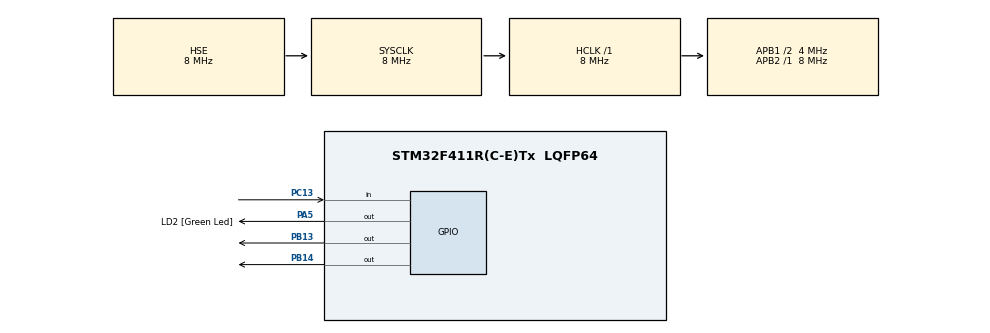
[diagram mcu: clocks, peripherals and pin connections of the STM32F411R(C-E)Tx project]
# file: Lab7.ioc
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FREERTOS.Tasks01=defaultTask,24,128,StartDefaultTask,Default,NULL,Dynamic,NULL,NULL
Mcu.Family=STM32F4
Mcu.Name=STM32F411R(C-E)Tx
Mcu.Package=LQFP64
NVIC.PriorityGroup=NVIC_PRIORITYGROUP_4
NVIC.TIM4_IRQn=true\:15\:0\:false\:false\:true\:false\:false\:true\:true
NVIC.TimeBase=TIM4_IRQn
NVIC.TimeBaseIP=TIM4
PA13.GPIO_Label=TMS
PA13.Signal=SYS_JTMS-SWDIO
PA2.GPIO_Label=USART_TX
PA2.Signal=USART2_TX
PA3.GPIO_Label=USART_RX
PA3.Signal=USART2_RX
PA5.GPIO_Label=LD2 [Green Led]
PA5.Signal=GPIO_Output
PB13.Signal=GPIO_Output
PB14.Signal=GPIO_Output
PC13-ANTI_TAMP.Signal=GPIO_Input
PH0\ -\ OSC_IN.Mode=HSE-External-Oscillator
PH0\ -\ OSC_IN.Signal=RCC_OSC_IN
PH1\ -\ OSC_OUT.Mode=HSE-External-Oscillator
PH1\ -\ OSC_OUT.Signal=RCC_OSC_OUT
ProjectManager.HeapSize=0x200
ProjectManager.StackSize=0x400
ProjectManager.TargetToolchain=STM32CubeIDE
RCC.48MHZClocksFreq_Value=84000000
RCC.AHBFreq_Value=8000000
RCC.APB1CLKDivider=RCC_HCLK_DIV2
RCC.APB1Freq_Value=4000000
RCC.APB1TimFreq_Value=8000000
RCC.APB2Freq_Value=8000000
RCC.APB2TimFreq_Value=8000000
RCC.CortexFreq_Value=8000000
RCC.FLatency-AdvancedSettings=FLASH_LATENCY_0
RCC.HCLKFreq_Value=8000000
RCC.HSE_VALUE=8000000
RCC.HSI_VALUE=16000000
RCC.LSE_VALUE=32768
RCC.PLLN=336
RCC.PLLP=RCC_PLLP_DIV4
RCC.SYSCLKFreq_VALUE=8000000
RCC.SYSCLKSource=RCC_SYSCLKSOURCE_HSE
RCC.VCOOutputFreq_Value=336000000
VP_FREERTOS_VS_CMSIS_V2.Mode=CMSIS_V2
VP_SYS_VS_tim4.Mode=TIM4
board=NUCLEO-F411RE

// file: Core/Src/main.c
/* USER CODE BEGIN Header */
/**
  ******************************************************************************
  * @file           : main.c
  * @brief          : Main program body
  ******************************************************************************
  * @attention
  *
  * Copyright (c) 2026 STMicroelectronics.
  * All rights reserved.
  *
  * This software is licensed under terms that can be found in the LICENSE file
  * in the root directory of this software component.
  * If no LICENSE file comes with this software, it is provided AS-IS.
  *
  ******************************************************************************
  */
/*
 * Варіант 7. Створити три потоки для керування світлодіодами PA5, PB13, PB14.
 * Частоти: PA5 — 1 Гц(тривалість 400 мс), PB13— 0.25 Гц (тривалість 1 с),
 * PB14— 0.1 Гц (тривалість 2 с).
 * Кнопка PC13 змінює тривалість імпульсу PA5 від 400 мс до 1 с.
 */
/* USER CODE END Header */
#include "main.h"
#include "cmsis_os.h"

/* USER CODE BEGIN Includes */
#include "FreeRTOS.h"
#include "task.h"
/* USER CODE END Includes */

/* Definitions for defaultTask */
osThreadId_t defaultTaskHandle;
const osThreadAttr_t defaultTask_attributes = {
  .name = "defaultTask",
  .stack_size = 128 * 4,
  .priority = (osPriority_t) osPriorityNormal,
};
/* USER CODE BEGIN PV */
volatile uint32_t duration_PA5 = 400;
/* USER CODE END PV */

void SystemClock_Config(void);
static void MX_GPIO_Init(void);
void StartDefaultTask(void *argument);

void LedTaskPA5(void *argument);
void LedTaskPB13(void *argument);
void LedTaskPB14(void *argument);
void ButtonTask(void *argument);

int main(void)
{

  /* MCU Configuration--------------------------------------------------------*/

  /* Reset of all peripherals, Initializes the Flash interface and the Systick. */
  HAL_Init();

  /* Configure the system clock */
  SystemClock_Config();

  /* Initialize all configured peripherals */
  MX_GPIO_Init();

  /* Init scheduler */
  osKernelInitialize();

  /* Create the thread(s) */
  /* creation of defaultTask */
  defaultTaskHandle = osThreadNew(StartDefaultTask, NULL, &defaultTask_attributes);

  /* USER CODE BEGIN RTOS_THREADS */
  /* add threads, ... */
  xTaskCreate(LedTaskPA5, "LED_PA5", 128, NULL, 1, NULL);
  xTaskCreate(LedTaskPB13, "LED_PB13", 128, NULL, 1, NULL);
  xTaskCreate(LedTaskPB14, "LED_PB14", 128, NULL, 1, NULL);
  // Button task usually gets a slightly higher priority to respond quickly
  xTaskCreate(ButtonTask, "BTN_PC13", 128, NULL, 2, NULL);

  /* USER CODE END RTOS_THREADS */

  /* Start scheduler */
  osKernelStart();

  /* We should never get here as control is now taken by the scheduler */

  /* Infinite loop */
  while (1)
  {

  }
}

void SystemClock_Config(void)
{
  RCC_OscInitTypeDef RCC_OscInitStruct = {0};
  RCC_ClkInitTypeDef RCC_ClkInitStruct = {0};

  /** Configure the main internal regulator output voltage
  */
  __HAL_RCC_PWR_CLK_ENABLE();
  __HAL_PWR_VOLTAGESCALING_CONFIG(PWR_REGULATOR_VOLTAGE_SCALE1);

  /** Initializes the RCC Oscillators according to the specified parameters
  * in the RCC_OscInitTypeDef structure.
  */
  RCC_OscInitStruct.OscillatorType = RCC_OSCILLATORTYPE_HSE;
  RCC_OscInitStruct.HSEState = RCC_HSE_ON;
  RCC_OscInitStruct.PLL.PLLState = RCC_PLL_NONE;
  if (HAL_RCC_OscConfig(&RCC_OscInitStruct) != HAL_OK)
  {
    Error_Handler();
  }

  /** Initializes the CPU, AHB and APB buses clocks
  */
  RCC_ClkInitStruct.ClockType = RCC_CLOCKTYPE_HCLK|RCC_CLOCKTYPE_SYSCLK
                              |RCC_CLOCKTYPE_PCLK1|RCC_CLOCKTYPE_PCLK2;
  RCC_ClkInitStruct.SYSCLKSource = RCC_SYSCLKSOURCE_HSE;
  RCC_ClkInitStruct.AHBCLKDivider = RCC_SYSCLK_DIV1;
  RCC_ClkInitStruct.APB1CLKDivider = RCC_HCLK_DIV2;
  RCC_ClkInitStruct.APB2CLKDivider = RCC_HCLK_DIV1;

  if (HAL_RCC_ClockConfig(&RCC_ClkInitStruct, FLASH_LATENCY_0) != HAL_OK)
  {
    Error_Handler();
  }
}

static void MX_GPIO_Init(void)
{
  GPIO_InitTypeDef GPIO_InitStruct = {0};

  /* GPIO Ports Clock Enable */
  __HAL_RCC_GPIOC_CLK_ENABLE();
  __HAL_RCC_GPIOH_CLK_ENABLE();
  __HAL_RCC_GPIOA_CLK_ENABLE();
  __HAL_RCC_GPIOB_CLK_ENABLE();

  /*Configure GPIO pin Output Level */
  HAL_GPIO_WritePin(LD2_GPIO_Port, LD2_Pin, GPIO_PIN_RESET);

  /*Configure GPIO pin Output Level */
  HAL_GPIO_WritePin(GPIOB, GPIO_PIN_13|GPIO_PIN_14, GPIO_PIN_RESET);

  /*Configure GPIO pin : PC13 */
  GPIO_InitStruct.Pin = GPIO_PIN_13;
  GPIO_InitStruct.Mode = GPIO_MODE_INPUT;
  GPIO_InitStruct.Pull = GPIO_NOPULL;
  HAL_GPIO_Init(GPIOC, &GPIO_InitStruct);

  /*Configure GPIO pins : USART_TX_Pin USART_RX_Pin */
  GPIO_InitStruct.Pin = USART_TX_Pin|USART_RX_Pin;
  GPIO_InitStruct.Mode = GPIO_MODE_AF_PP;
  GPIO_InitStruct.Pull = GPIO_NOPULL;
  GPIO_InitStruct.Speed = GPIO_SPEED_FREQ_VERY_HIGH;
  GPIO_InitStruct.Alternate = GPIO_AF7_USART2;
  HAL_GPIO_Init(GPIOA, &GPIO_InitStruct);

  /*Configure GPIO pin : LD2_Pin */
  GPIO_InitStruct.Pin = LD2_Pin;
  GPIO_InitStruct.Mode = GPIO_MODE_OUTPUT_PP;
  GPIO_InitStruct.Pull = GPIO_NOPULL;
  GPIO_InitStruct.Speed = GPIO_SPEED_FREQ_LOW;
  HAL_GPIO_Init(LD2_GPIO_Port, &GPIO_InitStruct);

  /*Configure GPIO pins : PB13 PB14 */
  GPIO_InitStruct.Pin = GPIO_PIN_13|GPIO_PIN_14;
  GPIO_InitStruct.Mode = GPIO_MODE_OUTPUT_PP;
  GPIO_InitStruct.Pull = GPIO_NOPULL;
  GPIO_InitStruct.Speed = GPIO_SPEED_FREQ_LOW;
  HAL_GPIO_Init(GPIOB, &GPIO_InitStruct);

}

/* USER CODE BEGIN 4 */

// Task 1: PA5 at 1 Hz
void LedTaskPA5(void *argument) {
  while(1) {
    HAL_GPIO_WritePin(GPIOA, GPIO_PIN_5, GPIO_PIN_SET);
    vTaskDelay(duration_PA5);

    // If duration is 1000ms, led is constantly on
    if (duration_PA5 < 1000) {
        HAL_GPIO_WritePin(GPIOA, GPIO_PIN_5, GPIO_PIN_RESET);
        vTaskDelay(1000 - duration_PA5); // Wait for the remaining time in the 1s period
    }
  }
}

// Task 2: PB13 at 0.25 Hz
void LedTaskPB13(void *argument) {
	while(1) {
    HAL_GPIO_WritePin(GPIOB, GPIO_PIN_13, GPIO_PIN_SET);
    vTaskDelay(1000); // ON for 1 sec

    HAL_GPIO_WritePin(GPIOB, GPIO_PIN_13, GPIO_PIN_RESET);
    vTaskDelay(3000); // OFF for 3 sec
  }
}

// Task 3: PB14 at 0.1 Hz
void LedTaskPB14(void *argument) {
	while(1) {
    HAL_GPIO_WritePin(GPIOB, GPIO_PIN_14, GPIO_PIN_SET);
    vTaskDelay(2000); // ON for 2 sec

    HAL_GPIO_WritePin(GPIOB, GPIO_PIN_14, GPIO_PIN_RESET);
    vTaskDelay(8000); // OFF for 8 sec
  }
}

// Task 4: Button
void ButtonTask(void *argument) {
	 while(1) {
    if (HAL_GPIO_ReadPin(GPIOC, GPIO_PIN_13) == GPIO_PIN_RESET) {

      // Toggle the duration between 400ms and 1000ms
      if (duration_PA5 == 400) {
          duration_PA5 = 1000;
      } else {
          duration_PA5 = 400;
      }

      // Delay to debounce
      vTaskDelay(300);
    }

    // Check the button every 50ms
    vTaskDelay(50);
  }
}
/* USER CODE END 4 */

void StartDefaultTask(void *argument)
{
  for(;;)
  {
    osDelay(1);
  }
}

void HAL_TIM_PeriodElapsedCallback(TIM_HandleTypeDef *htim)
{
  if (htim->Instance == TIM4)
  {
    HAL_IncTick();
  }
}

void Error_Handler(void)
{
  __disable_irq();
  while (1)
  {
  }
}
